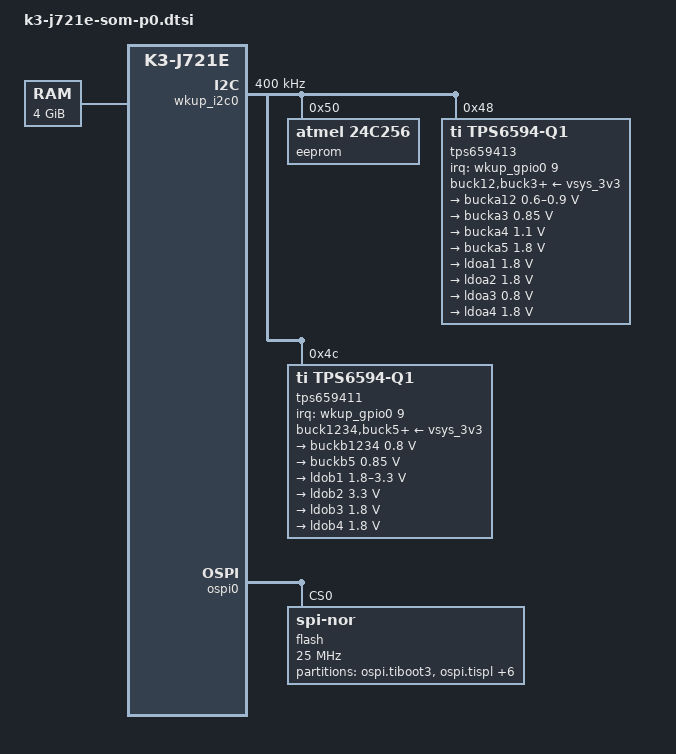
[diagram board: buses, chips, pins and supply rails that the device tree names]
// SPDX-License-Identifier: GPL-2.0-only OR MIT
/*
 * Copyright (C) 2019-2024 Texas Instruments Incorporated - https://www.ti.com/
 *
 * Product Link: https://www.ti.com/tool/J721EXSOMXEVM
 */

/dts-v1/;

#include "k3-j721e.dtsi"

/ {
	memory@80000000 {
		device_type = "memory";
		bootph-all;
		/* 4G RAM */
		reg = <0x00000000 0x80000000 0x00000000 0x80000000>,
		      <0x00000008 0x80000000 0x00000000 0x80000000>;
	};

	reserved_memory: reserved-memory {
		#address-cells = <2>;
		#size-cells = <2>;
		ranges;

		secure_ddr: optee@9e800000 {
			reg = <0x00 0x9e800000 0x00 0x01800000>;
			alignment = <0x1000>;
			no-map;
		};

		mcu_r5fss0_core0_dma_memory_region: memory@a0000000 {
			compatible = "shared-dma-pool";
			reg = <0x00 0xa0000000 0x00 0x100000>;
			no-map;
		};

		mcu_r5fss0_core0_memory_region: memory@a0100000 {
			compatible = "shared-dma-pool";
			reg = <0x00 0xa0100000 0x00 0xf00000>;
			no-map;
		};
	};
};

&wkup_pmx0 {
	wkup_i2c0_pins_default: wkup-i2c0-default-pins {
		pinctrl-single,pins = <
			J721E_WKUP_IOPAD(0xf8, PIN_INPUT_PULLUP, 0) /* (J25) WKUP_I2C0_SCL */
			J721E_WKUP_IOPAD(0xfc, PIN_INPUT_PULLUP, 0) /* (H24) WKUP_I2C0_SDA */
		>;
		bootph-all;
	};

	pmic_irq_pins_default: pmic-irq-default-pins {
		pinctrl-single,pins = <
			J721E_WKUP_IOPAD(0x0d4, PIN_INPUT, 7) /* (G26) WKUP_GPIO0_9 */
		>;
	};

	mcu_fss0_ospi0_pins_default: mcu-fss0-ospi0-default-pins {
		pinctrl-single,pins = <
			J721E_WKUP_IOPAD(0x0000, PIN_OUTPUT, 0) /* MCU_OSPI0_CLK */
			J721E_WKUP_IOPAD(0x0008, PIN_INPUT, 0)  /* MCU_OSPI0_DQS */
			J721E_WKUP_IOPAD(0x000c, PIN_INPUT, 0)  /* MCU_OSPI0_D0 */
			J721E_WKUP_IOPAD(0x0010, PIN_INPUT, 0)  /* MCU_OSPI0_D1 */
			J721E_WKUP_IOPAD(0x0014, PIN_INPUT, 0)  /* MCU_OSPI0_D2 */
			J721E_WKUP_IOPAD(0x0018, PIN_INPUT, 0)  /* MCU_OSPI0_D3 */
			J721E_WKUP_IOPAD(0x001c, PIN_INPUT, 0)  /* MCU_OSPI0_D4 */
			J721E_WKUP_IOPAD(0x0020, PIN_INPUT, 0)  /* MCU_OSPI0_D5 */
			J721E_WKUP_IOPAD(0x0024, PIN_INPUT, 0)  /* MCU_OSPI0_D6 */
			J721E_WKUP_IOPAD(0x0028, PIN_INPUT, 0)  /* MCU_OSPI0_D7 */
			J721E_WKUP_IOPAD(0x002c, PIN_OUTPUT, 0) /* MCU_OSPI0_CSn0 */
		>;
		bootph-all;
	};

	mcu_fss0_hpb0_pins_default: mcu-fss0-hpb0-default-pins {
		pinctrl-single,pins = <
			J721E_WKUP_IOPAD(0x0, PIN_OUTPUT, 1)  /* MCU_HYPERBUS0_CK */
			J721E_WKUP_IOPAD(0x4, PIN_OUTPUT, 1)  /* MCU_HYPERBUS0_CKn */
			J721E_WKUP_IOPAD(0x2c, PIN_OUTPUT, 1) /* MCU_HYPERBUS0_CSn0 */
			J721E_WKUP_IOPAD(0x54, PIN_OUTPUT, 3) /* MCU_HYPERBUS0_CSn1 */
			J721E_WKUP_IOPAD(0x30, PIN_OUTPUT, 1) /* MCU_HYPERBUS0_RESETn */
			J721E_WKUP_IOPAD(0x8, PIN_INPUT, 1)   /* MCU_HYPERBUS0_RWDS */
			J721E_WKUP_IOPAD(0xc, PIN_INPUT, 1)   /* MCU_HYPERBUS0_DQ0 */
			J721E_WKUP_IOPAD(0x10, PIN_INPUT, 1)  /* MCU_HYPERBUS0_DQ1 */
			J721E_WKUP_IOPAD(0x14, PIN_INPUT, 1)  /* MCU_HYPERBUS0_DQ2 */
			J721E_WKUP_IOPAD(0x18, PIN_INPUT, 1)  /* MCU_HYPERBUS0_DQ3 */
			J721E_WKUP_IOPAD(0x1c, PIN_INPUT, 1)  /* MCU_HYPERBUS0_DQ4 */
			J721E_WKUP_IOPAD(0x20, PIN_INPUT, 1)  /* MCU_HYPERBUS0_DQ5 */
			J721E_WKUP_IOPAD(0x24, PIN_INPUT, 1)  /* MCU_HYPERBUS0_DQ6 */
			J721E_WKUP_IOPAD(0x28, PIN_INPUT, 1)  /* MCU_HYPERBUS0_DQ7 */
		>;
		bootph-all;
	};
};

&wkup_i2c0 {
	status = "okay";
	pinctrl-names = "default";
	pinctrl-0 = <&wkup_i2c0_pins_default>;
	clock-frequency = <400000>;

	eeprom@50 {
		/* CAV24C256WE-GT3 */
		compatible = "atmel,24c256";
		reg = <0x50>;
	};

	tps659413: pmic@48 {
		compatible = "ti,tps6594-q1";
		reg = <0x48>;
		system-power-controller;
		pinctrl-names = "default";
		pinctrl-0 = <&pmic_irq_pins_default>;
		interrupt-parent = <&wkup_gpio0>;
		interrupts = <9 IRQ_TYPE_EDGE_FALLING>;
		gpio-controller;
		#gpio-cells = <2>;
		ti,primary-pmic;
		buck12-supply = <&vsys_3v3>;
		buck3-supply = <&vsys_3v3>;
		buck4-supply = <&vsys_3v3>;
		buck5-supply = <&vsys_3v3>;
		ldo1-supply = <&vsys_3v3>;
		ldo2-supply = <&vsys_3v3>;
		ldo3-supply = <&vsys_3v3>;
		ldo4-supply = <&vsys_3v3>;

		regulators {
			bucka12: buck12 {
				regulator-name = "vdd_cpu_avs";
				regulator-min-microvolt = <600000>;
				regulator-max-microvolt = <900000>;
				regulator-boot-on;
				regulator-always-on;
				bootph-pre-ram;
			};

			bucka3: buck3 {
				regulator-name = "vdd_mcu_0v85";
				regulator-min-microvolt = <850000>;
				regulator-max-microvolt = <850000>;
				regulator-boot-on;
				regulator-always-on;
			};

			bucka4: buck4 {
				regulator-name = "vdd_ddr_1v1";
				regulator-min-microvolt = <1100000>;
				regulator-max-microvolt = <1100000>;
				regulator-boot-on;
				regulator-always-on;
			};

			bucka5: buck5 {
				regulator-name = "vdd_phyio_1v8";
				regulator-min-microvolt = <1800000>;
				regulator-max-microvolt = <1800000>;
				regulator-boot-on;
				regulator-always-on;
			};

			ldoa1: ldo1 {
				regulator-name = "vdd1_lpddr4_1v8";
				regulator-min-microvolt = <1800000>;
				regulator-max-microvolt = <1800000>;
				regulator-boot-on;
				regulator-always-on;
			};

			ldoa2: ldo2 {
				regulator-name = "vdd_mcuio_1v8";
				regulator-min-microvolt = <1800000>;
				regulator-max-microvolt = <1800000>;
				regulator-boot-on;
				regulator-always-on;
			};

			ldoa3: ldo3 {
				regulator-name = "vdda_dll_0v8";
				regulator-min-microvolt = <800000>;
				regulator-max-microvolt = <800000>;
				regulator-boot-on;
				regulator-always-on;
			};

			ldoa4: ldo4 {
				regulator-name = "vda_mcu_1v8";
				regulator-min-microvolt = <1800000>;
				regulator-max-microvolt = <1800000>;
				regulator-boot-on;
				regulator-always-on;
			};
		};
	};

	tps659411: pmic@4c {
		compatible = "ti,tps6594-q1";
		reg = <0x4c>;
		system-power-controller;
		interrupt-parent = <&wkup_gpio0>;
		interrupts = <9 IRQ_TYPE_EDGE_FALLING>;
		gpio-controller;
		#gpio-cells = <2>;
		buck1234-supply = <&vsys_3v3>;
		buck5-supply = <&vsys_3v3>;
		ldo1-supply = <&vsys_3v3>;
		ldo2-supply = <&vsys_3v3>;
		ldo3-supply = <&vsys_3v3>;
		ldo4-supply = <&vsys_3v3>;

		regulators {
			buckb1234: buck1234 {
				regulator-name = "vdd_core_0v8";
				regulator-min-microvolt = <800000>;
				regulator-max-microvolt = <800000>;
				regulator-boot-on;
				regulator-always-on;
			};

			buckb5: buck5 {
				regulator-name = "vdd_ram_0v85";
				regulator-min-microvolt = <850000>;
				regulator-max-microvolt = <850000>;
				regulator-boot-on;
				regulator-always-on;
			};

			ldob1: ldo1 {
				regulator-name = "vdd_sd_dv";
				regulator-min-microvolt = <1800000>;
				regulator-max-microvolt = <3300000>;
				regulator-boot-on;
				regulator-always-on;
			};

			ldob2: ldo2 {
				regulator-name = "vdd_usb_3v3";
				regulator-min-microvolt = <3300000>;
				regulator-max-microvolt = <3300000>;
				regulator-boot-on;
				regulator-always-on;
			};

			ldob3: ldo3 {
				regulator-name = "vdd_io_1v8";
				regulator-min-microvolt = <1800000>;
				regulator-max-microvolt = <1800000>;
				regulator-boot-on;
				regulator-always-on;
			};

			ldob4: ldo4 {
				regulator-name = "vda_pll_1v8";
				regulator-min-microvolt = <1800000>;
				regulator-max-microvolt = <1800000>;
				regulator-boot-on;
				regulator-always-on;
			};
		};
	};
};

&ospi0 {
	status = "okay";
	pinctrl-names = "default";
	pinctrl-0 = <&mcu_fss0_ospi0_pins_default>;

	flash@0 {
		compatible = "jedec,spi-nor";
		reg = <0x0>;
		spi-tx-bus-width = <8>;
		spi-rx-bus-width = <8>;
		spi-max-frequency = <25000000>;
		cdns,tshsl-ns = <60>;
		cdns,tsd2d-ns = <60>;
		cdns,tchsh-ns = <60>;
		cdns,tslch-ns = <60>;
		cdns,read-delay = <0>;

		partitions {
			compatible = "fixed-partitions";
			#address-cells = <1>;
			#size-cells = <1>;

			partition@0 {
				label = "ospi.tiboot3";
				reg = <0x0 0x80000>;
			};

			partition@80000 {
				label = "ospi.tispl";
				reg = <0x80000 0x200000>;
			};

			partition@280000 {
				label = "ospi.u-boot";
				reg = <0x280000 0x400000>;
			};

			partition@680000 {
				label = "ospi.env";
				reg = <0x680000 0x20000>;
			};

			partition@6a0000 {
				label = "ospi.env.backup";
				reg = <0x6a0000 0x20000>;
			};

			partition@6c0000 {
				label = "ospi.sysfw";
				reg = <0x6c0000 0x100000>;
			};

			partition@800000 {
				label = "ospi.rootfs";
				reg = <0x800000 0x37c0000>;
			};

			partition@3fe0000 {
				label = "ospi.phypattern";
				reg = <0x3fe0000 0x20000>;
				bootph-all;
			};
		};
	};
};

&hbmc {
	/* OSPI and HBMC are muxed inside FSS, Bootloader will enable
	 * appropriate node based on board detection
	 */
	status = "disabled";
	pinctrl-names = "default";
	pinctrl-0 = <&mcu_fss0_hpb0_pins_default>;
	ranges = <0x00 0x00 0x05 0x00000000 0x4000000>, /* 64MB Flash on CS0 */
		 <0x01 0x00 0x05 0x04000000 0x800000>; /* 8MB RAM on CS1 */

	flash@0,0 {
		compatible = "cypress,hyperflash", "cfi-flash";
		reg = <0x00 0x00 0x4000000>;
		bootph-all;

		partitions {
			compatible = "fixed-partitions";
			#address-cells = <1>;
			#size-cells = <1>;

			partition@0 {
				label = "hbmc.tiboot3";
				reg = <0x0 0x80000>;
			};

			partition@80000 {
				label = "hbmc.tispl";
				reg = <0x80000 0x200000>;
			};

			partition@280000 {
				label = "hbmc.u-boot";
				reg = <0x280000 0x400000>;
			};

			partition@680000 {
				label = "hbmc.env";
				reg = <0x680000 0x40000>;
			};

			partition@6c0000 {
				label = "hbmc.sysfw";
				reg = <0x6c0000 0x100000>;
			};

			partition@800000 {
				label = "hbmc.rootfs";
				reg = <0x800000 0x3800000>;
			};
		};
	};
};

#include "k3-j721e-ti-ipc-firmware.dtsi"
